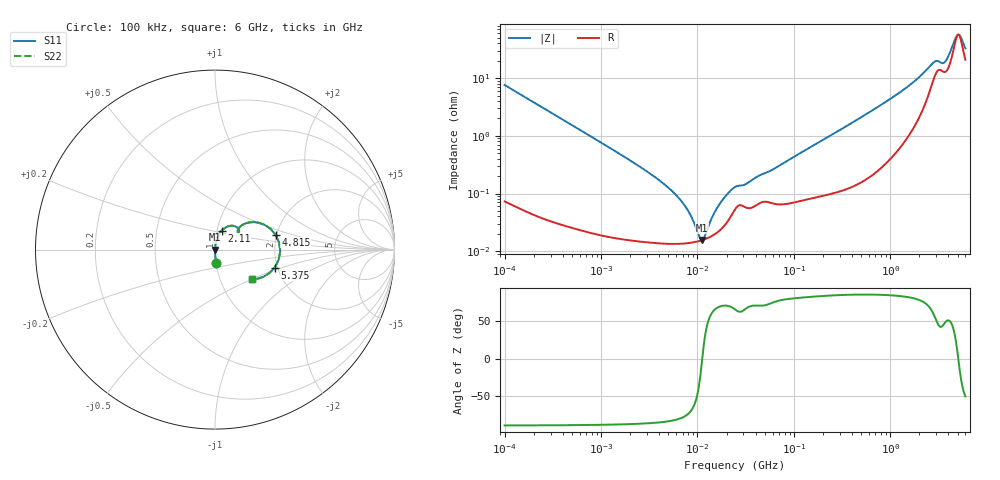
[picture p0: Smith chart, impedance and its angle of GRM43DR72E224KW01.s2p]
!Murata Part Number: GRM43DR72E224KW01
!These Parameters are Measured in Series Mode Connection
!Data Generated on Mar 30, 2021
!  o--ll--o
!Port1  Port2
!  o------o
!Operation Temp=25[degC], DC Bias Voltage=0[V]
!Freq. Start=100[kHz] Stop=6[GHz] 401[Steps]
# Hz S RI R 50
!Freq.(Hz) S11(Real) S11(Imag) S21(Real) S21(Imag) S12(Real) S12(Imag) S22(Real) S22(Imag)
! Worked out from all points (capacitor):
!   401 points, 100 kHz to 6 GHz, reference 50 ohm
!   read as one part in series: C = 209 nF near 105.7 kHz
!   lowest |Z| = 15.6 mohm at 11.03 MHz (marker M1)
!   series resonance near 11.2 MHz, so ESL is about 970 pH
!   S11 on the Smith chart (normalised r, x): 100 kHz: 1.00, -0.15; 2.11 GHz: 1.05, +0.22; 4.815 GHz: 1.97, +0.37; 5.375 GHz: 1.93, -0.44; 6 GHz: 1.41, -0.51
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100000  0.00647 -0.0755  0.9935 0.0755  0.9935 0.0755  0.00647 -0.0755
631452  0.000374 -0.0121  0.9996 0.0121  0.9996 0.0121  0.000374 -0.0121
3987316  0.00014 -0.00171  0.9999 0.00171  0.9999 0.00171  0.00014 -0.00171
7104501  0.000136 -0.000661  0.9999 0.000661  0.9999 0.000661  0.000136 -0.000661
8379264  0.00014 -0.000414  0.9999 0.000414  0.9999 0.000414  0.00014 -0.000414
1.044164e7  0.00015 -9.94e-05  0.9998 9.94e-05  0.9998 9.94e-05  0.00015 -9.94e-05
1.103214e7  0.000154 -2.16e-05  0.9998 2.16e-05  0.9998 2.16e-05  0.000154 -2.16e-05
1.198108e7  0.000162 9.55e-05  0.9998 -9.55e-05  0.9998 -9.55e-05  0.000162 9.55e-05
1.413084e7  0.000184 0.000335  0.9998 -0.000335  0.9998 -0.000335  0.000184 0.000335
1.666634e7  0.000223 0.000588  0.9998 -0.000588  0.9998 -0.000588  0.000223 0.000588
2.076842e7  0.000338 0.000954  0.9997 -0.000954  0.9997 -0.000954  0.000338 0.000954
2.517799e7  0.000566 0.0012  0.9994 -0.0012  0.9994 -0.0012  0.000566 0.0012
3.224998e7  0.000567 0.00137  0.9994 -0.00137  0.9994 -0.00137  0.000567 0.00137
1.546735e8  0.000869 0.00655  0.9991 -0.00655  0.9991 -0.00655  0.000869 0.00655
9.76689e8  0.00557 0.0421  0.9944 -0.0421  0.9944 -0.0421  0.00557 0.0421
2.10973e9  0.0363 0.1046  0.9637 -0.1046  0.9637 -0.1046  0.0363 0.1046
2.855131e9  0.112 0.1298  0.888 -0.1298  0.888 -0.1298  0.112 0.1298
3.65708e9  0.1264 0.1081  0.8736 -0.1081  0.8736 -0.1081  0.1264 0.1081
4.313271e9  0.2127 0.1533  0.7873 -0.1533  0.7873 -0.1533  0.2127 0.1533
4.814911e9  0.3375 0.0833  0.6625 -0.0833  0.6625 -0.0833  0.3375 0.0833
5.374892e9  0.3324 -0.1  0.6676 0.1  0.6676 0.1  0.3324 -0.1
6e9  0.2066 -0.1663  0.7934 0.1663  0.7934 0.1663  0.2066 -0.1663
